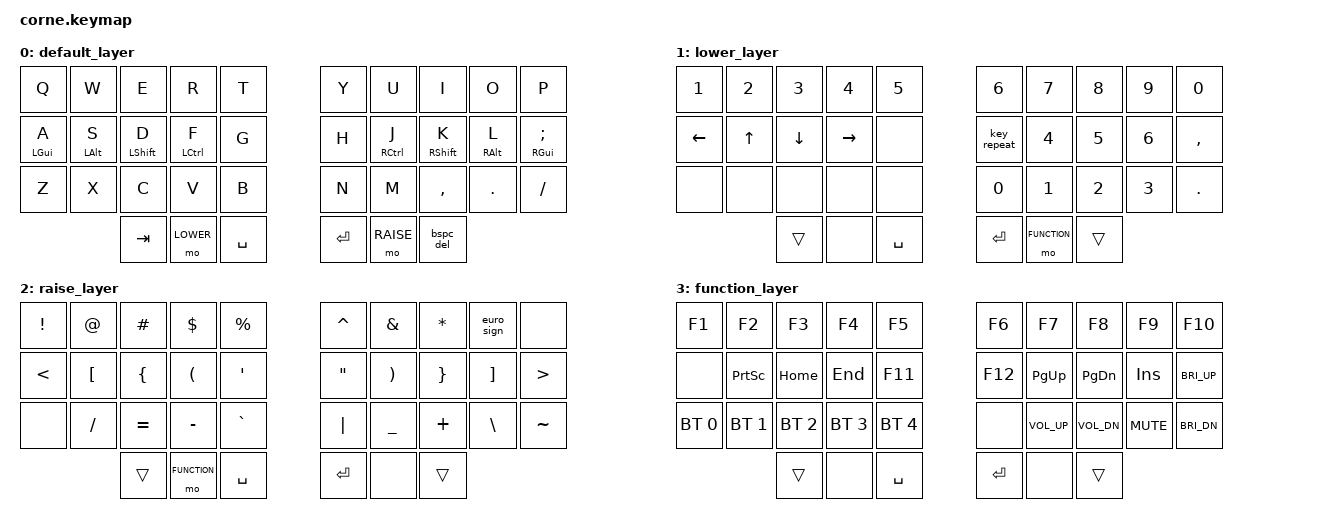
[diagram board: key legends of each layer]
/*
 * Copyright (c) 2020 The ZMK Contributors
 *
 * SPDX-License-Identifier: MIT
 */

/*                              36 KEY MATRIX / LAYOUT MAPPING

  ╭────────────────────┬────────────────────╮ ╭─────────────────────┬─────────────────────╮
  │  0   1   2   3   4 │  5   6   7   8   9 │ │ LT4 LT3 LT2 LT1 LT0 │ RT0 RT1 RT2 RT3 RT4 │
  │ 10  11  12  13  14 │ 15  16  17  18  19 │ │ LM4 LM3 LM2 LM1 LM0 │ RM0 RM1 RM2 RM3 RM4 │
  │ 20  21  22  23  24 │ 25  26  27  28  29 │ │ LB4 LB3 LB2 LB1 LB0 │ RB0 RB1 RB2 RB3 RB4 │
  ╰───────╮ 30  31  32 │ 33  34  35 ╭───────╯ ╰───────╮ LH2 LH1 LH0 │ RH0 RH1 RH2 ╭───────╯
          ╰────────────┴────────────╯                 ╰─────────────┴─────────────╯             */

#include <behaviors.dtsi>
#include <dt-bindings/zmk/keys.h>
#include <dt-bindings/zmk/bt.h>

// #define HOST_OS 1
#include "zmk-helpers/helper.h"
#include "zmk-helpers/key-labels/36.h"
#include "zmk-helpers/unicode-chars/german.dtsi"

// layer
#define DEFAULT 0
#define LOWER 1
#define RAISE 2
#define FUNCTION 3

// home row mod
#define HRM_A &hml LGUI A
#define HRM_S &hml LALT S
#define HRM_D &hml LSHIFT D
#define HRM_F &hml LCTRL F

#define HRM_J &hmr RCTRL J
#define HRM_K &hmr RSHIFT K
#define HRM_L &hmr RALT L
#define HRM_SEMI &hmr RGUI SEMI

#define KEYS_L LT0 LT1 LT2 LT3 LT4 LM0 LM1 LM2 LM3 LM4 LB0 LB1 LB2 LB3 LB4  // left hand
#define KEYS_R RT0 RT1 RT2 RT3 RT4 RM0 RM1 RM2 RM3 RM4 RB0 RB1 RB2 RB3 RB4  // right hand
#define THUMBS LH2 LH1 LH0 RH0 RH1 RH2                                      // thumbs

// euro sign
ZMK_UNICODE_SINGLE(euro_sign, N2, N0, A, C)  // €

ZMK_HOLD_TAP(hml,
    flavor = "balanced";
    tapping-term-ms = <280>;
    require-prior-idle-ms = <150>;
    hold-trigger-key-positions = <KEYS_R THUMBS>;
    hold-trigger-on-release;
    bindings = <&kp>, <&kp>;
)

ZMK_HOLD_TAP(hmr,
    flavor = "balanced";
    tapping-term-ms = <280>;
    require-prior-idle-ms = <150>;
    hold-trigger-key-positions = <KEYS_L THUMBS>;
    hold-trigger-on-release;
    bindings = <&kp>, <&kp>;
)

/ {
    chosen {
        zmk,physical-layout = &foostan_corne_5col_layout;
    };

    combos {
        compatible = "zmk,combos";

        combo_esc {
            timeout-ms = <50>;
            key-positions = <LT3 LT4>;
            bindings = <&kp ESC>;
        };
        
        combo_ae {
            timeout-ms = <50>;
            key-positions = <LT2 LM4>;
            bindings = <&de_ae>;
            layers = <DEFAULT>;
        };
        
        combo_oe {
            timeout-ms = <50>;
            key-positions = <LT2 RT3>;
            bindings = <&de_oe>;
            layers = <DEFAULT>;
        };
        
        combo_ue {
            timeout-ms = <50>;
            key-positions = <LT2 RT1>;
            bindings = <&de_ue>;
            layers = <DEFAULT>;
        };

        combo_sz {
            timeout-ms = <50>;
            key-positions = <LB4 LM3>;
            bindings = <&de_eszett>;
            layers = <DEFAULT>;
        };
    };

    behaviors {
        bspc_del: backspace_delete {
            compatible = "zmk,behavior-mod-morph";
            #binding-cells = <0>;
            bindings = <&kp BACKSPACE>, <&kp DELETE>;
            mods = <(MOD_LSFT|MOD_RSFT)>;
        };
    };

    keymap {
            compatible = "zmk,keymap";

        default_layer {
// -----------------------------------------------------------------------------------------
// |  Q  |  W  |  E  |  R  |  T  |   |  Y  |  U  |  I  |  O  |  P  |
// |  A  |  S  |  D  |  F  |  G  |   |  H  |  J  |  K  |  L  |  ;  |
// |  Z  |  X  |  C  |  V  |  B  |   |  N  |  M  |  ,  |  .  |  /  |
//             | TAB | LOW | SPC |   | ENT | RSE | BCK |
            bindings = <
   &kp Q       &kp W       &kp E        &kp R        &kp T         &kp Y   &kp U        &kp I        &kp O       &kp P
   &hml LGUI A &hml LALT S &hml LSHFT D &hml LCTRL F &kp G         &kp H   &hmr RCTRL J &hmr RSHFT K &hmr RALT L &hmr RGUI SEMI
   &kp Z       &kp X       &kp C        &kp V        &kp B         &kp N   &kp M        &kp COMMA    &kp DOT     &kp FSLH
                           &kp TAB      &mo LOWER    &kp SPACE     &kp RET &mo RAISE    &bspc_del
            >;
        };
        lower_layer {
// -----------------------------------------------------------------------------------------
// |  1  |  2  |  3  |  4  |  5  |   |  6  |  7  |  8  |  9  |  0  |
// | LEFT|  UP | DOWN|RIGHT|     |   |     |  4  |  5  |  6  |COMMA|
// |     |     |     |     |     |   | RPT |  1  |  2  |  3  | DOT |
//             | TAB |     | SPC |   | ENT | FNC | BCK |
            bindings = <
   &kp N1   &kp N2 &kp N3   &kp N4    &kp N5        &kp N6      &kp N7       &kp N8 &kp N9 &kp N0
   &kp LEFT &kp UP &kp DOWN &kp RIGHT &none         &key_repeat &kp N4       &kp N5 &kp N6 &kp COMMA
   &none    &none  &none    &none     &none         &kp N0      &kp N1       &kp N2 &kp N3 &kp DOT
                   &trans   &none     &kp SPACE     &kp RET     &mo FUNCTION &trans
            >;
        };

        raise_layer {
// -----------------------------------------------------------------------------------------
// |  !  |  @  |  #  |  $  |  %  |   |  ^  |  &  |  *  |     |     |
// |  <  |  [  |  {  |  (  |  '  |   |  "  |  )  |  }  |  ]  |  >  |
// |     |  /  |  =  |  -  |  `  |   |  |  |  _  |  +  |  \  |  ~  |
//             | TAB | FNC | SPC |   | ENT |     | BCK |
            bindings = <
   &kp EXCL &kp AT   &kp HASH  &kp DLLR     &kp PRCNT     &kp CARET &kp AMPS  &kp ASTRK &euro_sign &none
   &kp LT   &kp LBKT &kp LBRC  &kp LPAR     &kp SQT       &kp DQT   &kp RPAR  &kp RBRC  &kp RBKT   &kp GT
   &none    &kp FSLH &kp EQUAL &kp MINUS    &kp GRAVE     &kp PIPE  &kp UNDER &kp PLUS  &kp BSLH   &kp TILDE
                     &trans    &mo FUNCTION &kp SPACE     &kp RET   &none     &trans
            >;
        };

        function_layer {
// -----------------------------------------------------------------------------------------
// |  F1 |  F2 |  F3 |  F4 |  F5 |   |  F6 |  F7 |  F8 |  F9 | F10 |
// |     |PRINT| HOME| END | F11 |   | F12 |PG_UP|PG_DN| INS |BRI+ |
// | BT1 | BT2 | BT3 | BT4 | BT5 |   |     |VOL+ |VOL- |VOLm |BRI- |
//             | TAB |     | SPC |   | ENT |     | BCK |
            bindings = <
   &kp F1       &kp F2       &kp F3       &kp F4       &kp F5            &kp F6       &kp F7       &kp F8       &kp F9     &kp F10
   &none        &kp PSCRN    &kp HOME     &kp END      &kp F11           &kp F12      &kp PG_UP    &kp PG_DN    &kp INSERT &kp C_BRI_UP
   &bt BT_SEL 0 &bt BT_SEL 1 &bt BT_SEL 2 &bt BT_SEL 3 &bt BT_SEL 4      &none        &kp C_VOL_UP &kp C_VOL_DN &kp C_MUTE &kp C_BRI_DN
                             &trans       &none        &kp SPACE         &kp RET      &none        &trans
            >;
        };
    };
};
